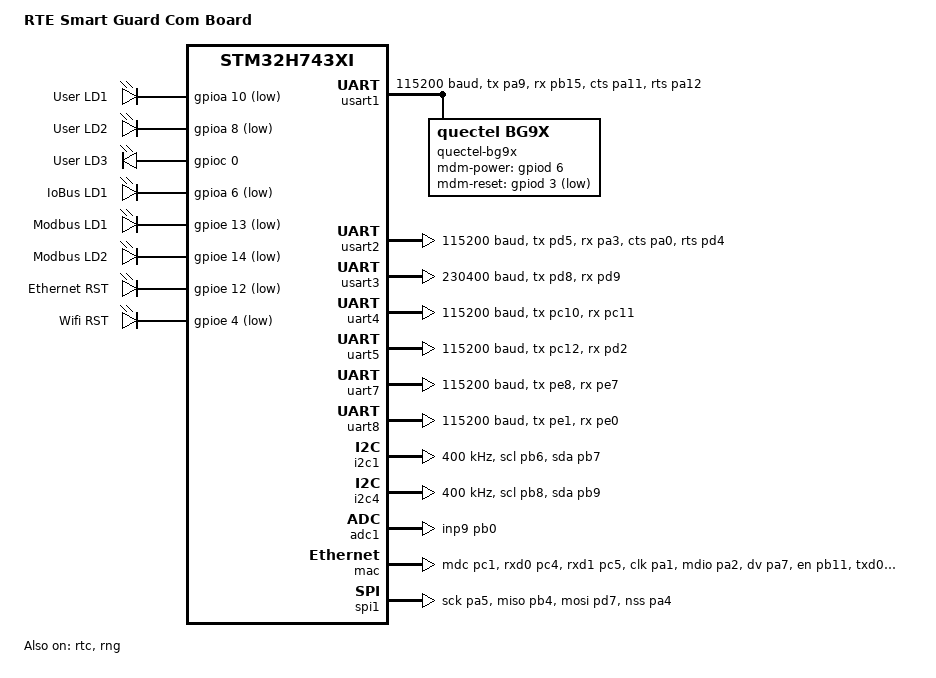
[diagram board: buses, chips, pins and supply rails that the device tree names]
/*
 * Copyright (c) 2021 RealTime Engineering AG
 *
 * SPDX-License-Identifier: Apache-2.0
 */

/dts-v1/;
#include <st/h7/stm32h743Xi.dtsi>
#include <st/h7/stm32h743vitx-pinctrl.dtsi>
#include "arduino_r3_connector.dtsi"

/ {
	model = "RTE Smart Guard Com Board";
	compatible = "st,smartguardcom";

	chosen {
		zephyr,console = &uart4;
		zephyr,shell-uart = &uart4;
		zephyr,sram = &sram0;
		zephyr,flash = &flash0;
		zephyr,dtcm = &dtcm;
		zephyr,code-partition = &slot0_partition;
	};

	/*
	resets {
       compatible = "gpio-resets";
        reset_eth: reset_0 {
            gpios = <&gpioe 12 GPIO_ACTIVE_LOW>;
            label = "Ethernet RST";
        };
    };
    */

    leds {
        compatible = "gpio-leds";
        run_led: led_0 {
            gpios = <&gpioa 10 GPIO_ACTIVE_LOW>;
            label = "User LD1";
        };
        error_led: led_1 {
            gpios = <&gpioa 8 GPIO_ACTIVE_LOW>;
            label = "User LD2";
        };
        cloud_led: led_2 {
            gpios = <&gpioc 0 GPIO_ACTIVE_HIGH>;
            label = "User LD3";
        };
        iobus_led: led_3 {
            gpios = <&gpioa 6 GPIO_ACTIVE_LOW>;
            label = "IoBus LD1";
        };
        modbus1_led: led_4 {
            gpios = <&gpioe 13 GPIO_ACTIVE_LOW>;
            label = "Modbus LD1";
        };
        modbus2_led: led_5 {
            gpios = <&gpioe 14 GPIO_ACTIVE_LOW>;
            label = "Modbus LD2";
        };
        reset_eth: reset_0 {
            gpios = <&gpioe 12 GPIO_ACTIVE_LOW>;
            label = "Ethernet RST";
        };
        reset_wifi: reset_1 {
            gpios = <&gpioe 4 GPIO_ACTIVE_LOW>;
            label = "Wifi RST";
        };
/*        
        modem_reset: reset_2 {
            gpios = <&gpiod 3 GPIO_ACTIVE_LOW>;
            label = "Modem RST";
        };
        modem_enable: enable_1 {
            gpios = <&gpiod 6 GPIO_ACTIVE_HIGH>;
            label = "Modem Power Enable";
        };
*/        
    };

	
    aliases {
        rsteth = &reset_eth;
        rstwifi = &reset_wifi;
        led0 = &run_led;
        led1 = &error_led;
        led2 = &cloud_led;
        led3 = &iobus_led;
        led4 = &modbus1_led;
        led5 = &modbus2_led;
    };
};

&usart1 {
    pinctrl-0 = <&usart1_tx_pa9 &usart1_rx_pb15 &usart1_cts_pa11 &usart1_rts_pa12>;
    current-speed = <115200>;
    status = "okay";

    quectel_bg9x {
		compatible = "quectel,bg9x";
		label      = "quectel-bg9x";
		status     = "okay";

		mdm-power-gpios = <&gpiod 6 GPIO_ACTIVE_HIGH>;
		mdm-reset-gpios = <&gpiod 3 GPIO_ACTIVE_LOW>;
/*
		mdm-power-gpios = <&gpiod 6 GPIO_ACTIVE_HIGH>;
		mdm-reset-gpios = <&gpiod 3 GPIO_ACTIVE_LOW>;
		mdm-dtr-gpios   = <&gpio0 22 0>; */
	};

};

&usart2 {
    pinctrl-0 = <&usart2_tx_pd5 &usart2_rx_pa3 &usart2_cts_pa0 &usart2_rts_pd4>;
    current-speed = <115200>;
    status = "okay";
};

&usart3 {
	pinctrl-0 = <&usart3_tx_pd8 &usart3_rx_pd9>;
	current-speed = <230400>;
};

&uart4 {
    pinctrl-0 = <&uart4_tx_pc10 &uart4_rx_pc11>;
    current-speed = <115200>;
    status = "okay";
};

&uart5 {
    pinctrl-0 = <&uart5_tx_pc12 &uart5_rx_pd2>;
    current-speed = <115200>;
    status = "okay";
};

&uart7 {
    pinctrl-0 = <&uart7_tx_pe8 &uart7_rx_pe7>;
    current-speed = <115200>;
    status = "okay";
};

&uart8 {
    pinctrl-0 = <&uart8_tx_pe1 &uart8_rx_pe0>;
    current-speed = <115200>;
    status = "okay";
};

&rtc {
	status = "okay";
};

&i2c1 {
	pinctrl-0 = <&i2c1_scl_pb6 &i2c1_sda_pb7>;
	status = "okay";
	clock-frequency = <I2C_BITRATE_FAST>;
};

&i2c4 {
    pinctrl-0 = <&i2c4_scl_pb8 &i2c4_sda_pb9>;
    status = "okay";
    clock-frequency = <I2C_BITRATE_FAST>;
};

&adc1 {
	pinctrl-0 = <&adc1_inp9_pb0 >;
	status = "okay";
};

&rng {
	status = "okay";
};

/*
 * WARNING:
 * Possible pin conflicts:
 *          The pins PA2 and PB13 may conflict on selection of ETH_STM32_HAL,
 *          since they are used in ST Zio or ST morpho connectors.
 *          To avoid conflicting states the jumpers JP6 and JP7
 *          must be in ON state.
 */
&mac {
	pinctrl-0 = <&eth_mdc_pc1
		     &eth_rxd0_pc4
		     &eth_rxd1_pc5
		     &eth_ref_clk_pa1
		     &eth_mdio_pa2
		     &eth_crs_dv_pa7
		     &eth_tx_en_pb11
		     &eth_txd0_pb12
		     &eth_txd1_pb13
		     &mco2_pc9>;
    status = "okay";
};

&spi1 {
	pinctrl-0 = <&spi1_sck_pa5 &spi1_miso_pb4 &spi1_mosi_pd7 &spi1_nss_pa4>;
    status = "okay";
};

&flash0 {
	partitions {
		compatible = "fixed-partitions";
		#address-cells = <1>;
		#size-cells = <1>;

		/* 128KB for bootloader */
		boot_partition: partition@0 {
			label = "mcuboot";
			reg = <0x00000000 0x00020000>;
			read-only;
		};

		/* storage: 128KB for settings */
		storage_partition: partition@20000 {
			label = "storage";
			reg = <0x00020000 0x00020000>;
		};

		/* application image slot: 256KB */
		slot0_partition: partition@40000 {
			label = "image-0";
			reg = <0x00040000 0x00040000>;
		};

		/* backup slot: 256KB */
		slot1_partition: partition@80000 {
			label = "image-1";
			reg = <0x00080000 0x00040000>;
		};

		/* swap slot: 128KB */
		scratch_partition: partition@c0000 {
			label = "image-scratch";
			reg = <0x000c0000 0x00020000>;
		};

	};
};
